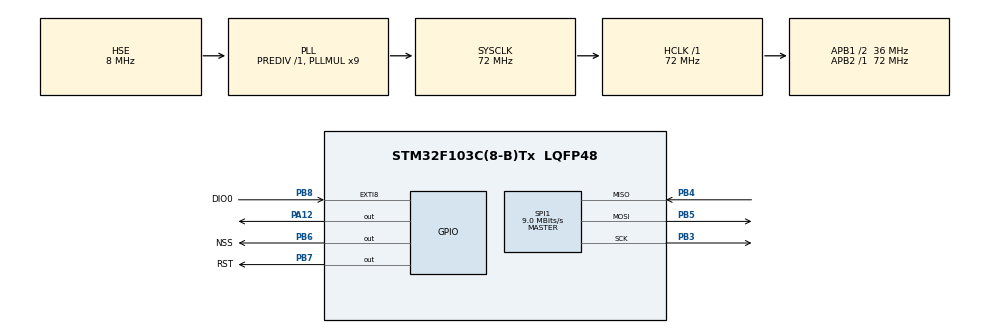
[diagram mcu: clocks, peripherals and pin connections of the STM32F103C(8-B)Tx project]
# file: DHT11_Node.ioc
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Mcu.Family=STM32F1
Mcu.Name=STM32F103C(8-B)Tx
Mcu.Package=LQFP48
NVIC.EXTI9_5_IRQn=true\:8\:0\:true\:false\:true\:true\:true\:true
NVIC.PriorityGroup=NVIC_PRIORITYGROUP_4
PA12.Signal=GPIO_Output
PA13.Mode=Serial_Wire
PA13.Signal=SYS_JTMS-SWDIO
PA14.Mode=Serial_Wire
PA14.Signal=SYS_JTCK-SWCLK
PB3.Mode=Full_Duplex_Master
PB3.Signal=SPI1_SCK
PB4.Mode=Full_Duplex_Master
PB4.Signal=SPI1_MISO
PB5.Mode=Full_Duplex_Master
PB5.Signal=SPI1_MOSI
PB6.GPIO_Label=NSS
PB6.PinState=GPIO_PIN_SET
PB6.Signal=GPIO_Output
PB7.GPIO_Label=RST
PB7.PinState=GPIO_PIN_SET
PB7.Signal=GPIO_Output
PB8.GPIO_Label=DIO0
PB8.Signal=GPXTI8
PD0-OSC_IN.Mode=HSE-External-Oscillator
PD0-OSC_IN.Signal=RCC_OSC_IN
PD1-OSC_OUT.Mode=HSE-External-Oscillator
PD1-OSC_OUT.Signal=RCC_OSC_OUT
ProjectManager.HeapSize=0x200
ProjectManager.StackSize=0x400
ProjectManager.TargetToolchain=MDK-ARM V5.32
RCC.AHBFreq_Value=72000000
RCC.APB1CLKDivider=RCC_HCLK_DIV2
RCC.APB1Freq_Value=36000000
RCC.APB1TimFreq_Value=72000000
RCC.APB2Freq_Value=72000000
RCC.APB2TimFreq_Value=72000000
RCC.HCLKFreq_Value=72000000
RCC.PLLMUL=RCC_PLL_MUL9
RCC.PLLSourceVirtual=RCC_PLLSOURCE_HSE
RCC.SYSCLKFreq_VALUE=72000000
RCC.SYSCLKSource=RCC_SYSCLKSOURCE_PLLCLK
RCC.USBFreq_Value=72000000
SPI1.BaudRatePrescaler=SPI_BAUDRATEPRESCALER_8
SPI1.CalculateBaudRate=9.0 MBits/s
SPI1.Direction=SPI_DIRECTION_2LINES
SPI1.Mode=SPI_MODE_MASTER
SPI1.VirtualType=VM_MASTER
TIM1.Prescaler=71
VP_TIM1_VS_ClockSourceINT.Mode=Internal
board=custom

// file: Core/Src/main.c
/* USER CODE BEGIN Header */
/**
  ******************************************************************************
  * @file           : main.c
  * @brief          : Main program body
  ******************************************************************************
  * @attention
  *
  * Copyright (c) 2025 STMicroelectronics.
  * All rights reserved.
  *
  * This software is licensed under terms that can be found in the LICENSE file
  * in the root directory of this software component.
  * If no LICENSE file comes with this software, it is provided AS-IS.
  *
  ******************************************************************************
  */
/* USER CODE END Header */
#include "main.h"
#include "spi.h"
#include "tim.h"
#include "gpio.h"

/* USER CODE BEGIN Includes */
#include "stdio.h"
#include "string.h"
#include "LoRa.h"
/* USER CODE END Includes */

/* USER CODE BEGIN PD */
#define DHT11_PORT GPIOA
#define DHT11_PIN GPIO_PIN_12
#define ID '1'
/* USER CODE END PD */

/* USER CODE BEGIN PV */
uint8_t RHI, RHD, TCI, TCD, SUM;
uint32_t pMillis, cMillis;
float RH = 0, TC = 0;

LoRa myLoRa;
uint16_t Lora_status = 0;
uint8_t transmit_status = 0, receive_status = 0;
uint8_t RxBuffer;

char send_data[128] = "Hello";

int m = 0, n = 0, k = 0;
/* USER CODE END PV */

void SystemClock_Config(void);
/* USER CODE BEGIN PFP */
void process(void);
/* USER CODE END PFP */

/* USER CODE BEGIN 0 */
void microDelay (uint16_t delay)
{
  __HAL_TIM_SET_COUNTER(&htim1, 0);
  while (__HAL_TIM_GET_COUNTER(&htim1) < delay);
}

uint8_t DHT11_Start (void)
{
  uint8_t Response = 0;
  GPIO_InitTypeDef GPIO_InitStructPrivate = {0};
  GPIO_InitStructPrivate.Pin = DHT11_PIN;
  GPIO_InitStructPrivate.Mode = GPIO_MODE_OUTPUT_PP;
  GPIO_InitStructPrivate.Speed = GPIO_SPEED_FREQ_LOW;
  GPIO_InitStructPrivate.Pull = GPIO_NOPULL;
  HAL_GPIO_Init(DHT11_PORT, &GPIO_InitStructPrivate); // set the pin as output
  HAL_GPIO_WritePin (DHT11_PORT, DHT11_PIN, GPIO_PIN_RESET);   // pull the pin low
  HAL_Delay(20);   // wait for 20ms
  HAL_GPIO_WritePin (DHT11_PORT, DHT11_PIN, GPIO_PIN_SET);   // pull the pin high
  microDelay (30);   // wait for 30us
  GPIO_InitStructPrivate.Mode = GPIO_MODE_INPUT;
  GPIO_InitStructPrivate.Pull = GPIO_PULLUP;
  HAL_GPIO_Init(DHT11_PORT, &GPIO_InitStructPrivate); // set the pin as input
  microDelay (40);
  if (!(HAL_GPIO_ReadPin (DHT11_PORT, DHT11_PIN)))
  {
    microDelay (80);
    if ((HAL_GPIO_ReadPin (DHT11_PORT, DHT11_PIN))) Response = 1;
  }
  pMillis = HAL_GetTick();
  cMillis = HAL_GetTick();
  while ((HAL_GPIO_ReadPin (DHT11_PORT, DHT11_PIN)) && pMillis + 2 > cMillis)
  {
    cMillis = HAL_GetTick();
  }
  return Response;
}

uint8_t DHT11_Read (void)
{
  uint8_t a,b;
  for (a=0;a<8;a++)
  {
    pMillis = HAL_GetTick();
    cMillis = HAL_GetTick();
    while (!(HAL_GPIO_ReadPin (DHT11_PORT, DHT11_PIN)) && pMillis + 2 > cMillis)
    {  // wait for the pin to go high
      cMillis = HAL_GetTick();
    }
    microDelay (40);   // wait for 40 us
    if (!(HAL_GPIO_ReadPin (DHT11_PORT, DHT11_PIN)))   // if the pin is low
      b&= ~(1<<(7-a));
    else
      b|= (1<<(7-a));
    pMillis = HAL_GetTick();
    cMillis = HAL_GetTick();
    while ((HAL_GPIO_ReadPin (DHT11_PORT, DHT11_PIN)) && pMillis + 2 > cMillis)
    {  // wait for the pin to go low
      cMillis = HAL_GetTick();
    }
  }
  return b;
}
/* USER CODE END 0 */

int main(void)
{

  /* MCU Configuration--------------------------------------------------------*/

  /* Reset of all peripherals, Initializes the Flash interface and the Systick. */
  HAL_Init();

  /* Configure the system clock */
  SystemClock_Config();

  /* Initialize all configured peripherals */
  MX_GPIO_Init();
  MX_SPI1_Init();
  MX_TIM1_Init();
  /* USER CODE BEGIN 2 */
	HAL_TIM_Base_Start(&htim1);

	myLoRa = newLoRa();

	myLoRa.frequency             = 434;             // default = 433 MHz
	myLoRa.spredingFactor        = SF_9;            // default = SF_7
	myLoRa.bandWidth             = BW_250KHz;       // default = BW_125KHz
	myLoRa.crcRate               = CR_4_8;          // default = CR_4_5
	myLoRa.power                 = POWER_17db;      // default = 20db
	myLoRa.overCurrentProtection = 130;             // default = 100 mA
	myLoRa.preamble              = 10;              // default = 8;

	myLoRa.CS_port         = NSS_GPIO_Port;
	myLoRa.CS_pin          = NSS_Pin;
	myLoRa.reset_port      = RST_GPIO_Port;
	myLoRa.reset_pin       = RST_Pin;
	myLoRa.DIO0_port       = DIO0_GPIO_Port;
	myLoRa.DIO0_pin        = DIO0_Pin;
	myLoRa.hSPIx           = &hspi1;

	Lora_status = LoRa_init(&myLoRa);

	LoRa_startReceiving(&myLoRa);
  /* USER CODE END 2 */

  /* Infinite loop */
  /* USER CODE BEGIN WHILE */

	HAL_SuspendTick();

	HAL_PWR_EnableSleepOnExit ();
	HAL_PWR_EnterSTOPMode(PWR_LOWPOWERREGULATOR_ON, PWR_STOPENTRY_WFI);

  while (1)
  {
    /* USER CODE END WHILE */

  }
}

void SystemClock_Config(void)
{
  RCC_OscInitTypeDef RCC_OscInitStruct = {0};
  RCC_ClkInitTypeDef RCC_ClkInitStruct = {0};

  /** Initializes the RCC Oscillators according to the specified parameters
  * in the RCC_OscInitTypeDef structure.
  */
  RCC_OscInitStruct.OscillatorType = RCC_OSCILLATORTYPE_HSE;
  RCC_OscInitStruct.HSEState = RCC_HSE_ON;
  RCC_OscInitStruct.HSEPredivValue = RCC_HSE_PREDIV_DIV1;
  RCC_OscInitStruct.HSIState = RCC_HSI_ON;
  RCC_OscInitStruct.PLL.PLLState = RCC_PLL_ON;
  RCC_OscInitStruct.PLL.PLLSource = RCC_PLLSOURCE_HSE;
  RCC_OscInitStruct.PLL.PLLMUL = RCC_PLL_MUL9;
  if (HAL_RCC_OscConfig(&RCC_OscInitStruct) != HAL_OK)
  {
    Error_Handler();
  }

  /** Initializes the CPU, AHB and APB buses clocks
  */
  RCC_ClkInitStruct.ClockType = RCC_CLOCKTYPE_HCLK|RCC_CLOCKTYPE_SYSCLK
                              |RCC_CLOCKTYPE_PCLK1|RCC_CLOCKTYPE_PCLK2;
  RCC_ClkInitStruct.SYSCLKSource = RCC_SYSCLKSOURCE_PLLCLK;
  RCC_ClkInitStruct.AHBCLKDivider = RCC_SYSCLK_DIV1;
  RCC_ClkInitStruct.APB1CLKDivider = RCC_HCLK_DIV2;
  RCC_ClkInitStruct.APB2CLKDivider = RCC_HCLK_DIV1;

  if (HAL_RCC_ClockConfig(&RCC_ClkInitStruct, FLASH_LATENCY_2) != HAL_OK)
  {
    Error_Handler();
  }
}

/* USER CODE BEGIN 4 */
void HAL_GPIO_EXTI_Callback(uint16_t GPIO_Pin)
{
  if (GPIO_Pin == DIO0_Pin)
	{

		SystemClock_Config ();
	  HAL_ResumeTick();

		process();

	}
}
void process(void)
{
	m++;
	receive_status = LoRa_receive(&myLoRa, &RxBuffer, 1);
	if (RxBuffer == ID)
	{
		n++;
		if(DHT11_Start())
    {
			k++;
      RHI = DHT11_Read(); // Relative humidity integral
      RHD = DHT11_Read(); // Relative humidity decimal
      TCI = DHT11_Read(); // Celsius integral
      TCD = DHT11_Read(); // Celsius decimal
      SUM = DHT11_Read(); // Check sum
      if (RHI + RHD + TCI + TCD == SUM)
      {

        TC = (float)TCI + (float)(TCD/10.0);
        RH = (float)RHI + (float)(RHD/10.0);

				snprintf(send_data, sizeof(send_data), "%c %d %d", ID, (int)TC, (int)RH);

				transmit_status = LoRa_transmit(&myLoRa, (uint8_t*)send_data, strlen(send_data), 100);
      }
		}
	}

}
/* USER CODE END 4 */

void Error_Handler(void)
{
  __disable_irq();
  while (1)
  {
  }
}
